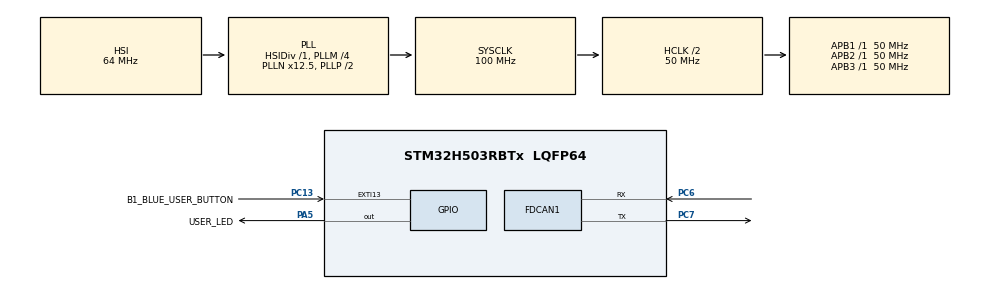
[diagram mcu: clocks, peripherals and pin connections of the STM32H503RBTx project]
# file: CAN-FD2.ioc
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BOOTPATH.BootPathName=LEGACY
BOOTPATH.UserSelectedBootPath=LEGACY
FDCAN1.CalculateBaudRateNominal=500000
FDCAN1.CalculateTimeBitNominal=2000
FDCAN1.CalculateTimeQuantumNominal=20.0
FDCAN1.DataPrescaler=2
FDCAN1.DataSyncJumpWidth=6
FDCAN1.DataTimeSeg1=18
FDCAN1.DataTimeSeg2=3
FDCAN1.FrameFormat=FDCAN_FRAME_FD_BRS
FDCAN1.Mode=FDCAN_MODE_NORMAL
FDCAN1.NominalPrescaler=1
FDCAN1.NominalSyncJumpWidth=27
FDCAN1.NominalTimeSeg1=72
FDCAN1.NominalTimeSeg2=27
Mcu.Family=STM32H5
Mcu.Name=STM32H503RBTx
Mcu.Package=LQFP64
NVIC.EXTI13_IRQn=true\:0\:0\:false\:false\:true\:true\:true\:true
NVIC.FDCAN1_IT0_IRQn=true\:0\:0\:false\:false\:true\:true\:true\:true
NVIC.PriorityGroup=NVIC_PRIORITYGROUP_4
PA3.GPIO_Label=T_VCP_RX
PA3.Signal=USART3_RX
PA4.GPIO_Label=T_VCP_TX
PA4.Signal=USART3_TX
PA5.GPIO_Label=USER_LED
PA5.Signal=GPIO_Output
PC13.GPIO_Label=B1_BLUE_USER_BUTTON
PC13.GPIO_ModeDefaultEXTI=GPIO_MODE_IT_FALLING
PC13.Signal=GPXTI13
PC6.Mode=FDCAN_Activate
PC6.Signal=FDCAN1_RX
PC7.Mode=FDCAN_Activate
PC7.Signal=FDCAN1_TX
PH0-OSC_IN(PH0).Mode=HSE-External-Oscillator
PH0-OSC_IN(PH0).Signal=RCC_OSC_IN
PH1-OSC_OUT(PH1).Mode=HSE-External-Oscillator
PH1-OSC_OUT(PH1).Signal=RCC_OSC_OUT
ProjectManager.HeapSize=0x200
ProjectManager.StackSize=0x400
ProjectManager.TargetToolchain=STM32CubeIDE
RCC.ADCFreq_Value=50000000
RCC.AHBCLKDivider=RCC_SYSCLK_DIV2
RCC.AHBFreq_Value=50000000
RCC.APB1Freq_Value=50000000
RCC.APB1TimFreq_Value=50000000
RCC.APB2Freq_Value=50000000
RCC.APB2TimFreq_Value=50000000
RCC.APB3Freq_Value=50000000
RCC.CSI_VALUE=4000000
RCC.CortexFreq_Value=50000000
RCC.EPOD_VALUE=64000000
RCC.FDCANClockSelection=RCC_FDCANCLKSOURCE_PLL1Q
RCC.HCLKFreq_Value=50000000
RCC.HSE_VALUE=24000000
RCC.HSI48_VALUE=48000000
RCC.HSIDiv=RCC_HSI_DIV1
RCC.HSI_VALUE=64000000
RCC.LSE_VALUE=32768
RCC.LSIRC_VALUE=32000
RCC.PLL1Q=4
RCC.PLLFRACN=4096
RCC.PLLM=4
RCC.PLLN=12
RCC.PLLSourceVirtual=RCC_PLL1_SOURCE_HSI
RCC.SYSCLKFreq_VALUE=100000000
RCC.SYSCLKSource=RCC_SYSCLKSOURCE_PLLCLK
RCC.USBFreq_Value=48000000
RCC.VCOOutputFreq_Value=200000000
VP_BOOTPATH_VS_BOOTPATH.Mode=BP_Activate
VP_CORTEX_M33_NS_VS_Hclk.Mode=Hclk_Mode
VP_MEMORYMAP_VS_MEMORYMAP.Mode=CurAppReg
VP_PWR_VS_DBSignals.Mode=DisableDeadBatterySignals
VP_PWR_VS_LPOM.Mode=PowerOptimisation
VP_PWR_VS_SECSignals.Mode=Security/Privilege
board=NUCLEO-H503RB

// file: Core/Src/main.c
/* USER CODE BEGIN Header */
/**
  ******************************************************************************
  * @file           : main.c
  * @brief          : Main program body
  ******************************************************************************
  * @attention
  *
  * Copyright (c) 2025 STMicroelectronics.
  * All rights reserved.
  *
  * This software is licensed under terms that can be found in the LICENSE file
  * in the root directory of this software component.
  * If no LICENSE file comes with this software, it is provided AS-IS.
  *
  ******************************************************************************
  */
/* USER CODE END Header */
#include "main.h"

FDCAN_HandleTypeDef hfdcan1;

void SystemClock_Config(void);
static void MX_GPIO_Init(void);
static void MX_FDCAN1_Init(void);

/* USER CODE BEGIN 0 */
typedef struct{
	FDCAN_TxHeaderTypeDef   TxHeader;
	FDCAN_RxHeaderTypeDef   RxHeader;
	uint32_t msgID;
	uint8_t dataTx[32];
	uint8_t dataRx[32];
} CAN_SET;

CAN_SET CAN_Payload;

/* USER CODE END 0 */

int main(void)
{

  /* MCU Configuration--------------------------------------------------------*/

  /* Reset of all peripherals, Initializes the Flash interface and the Systick. */
  HAL_Init();

  /* Configure the system clock */
  SystemClock_Config();

  /* Initialize all configured peripherals */
  MX_GPIO_Init();
  MX_FDCAN1_Init();
  /* USER CODE BEGIN 2 */
  for (int i = 0; i < 32; i++) {
      CAN_Payload.dataTx[i] = 0xAA;
  }
  /* USER CODE END 2 */

  /* Infinite loop */
  while (1)
  {

  }
}

void SystemClock_Config(void)
{
  RCC_OscInitTypeDef RCC_OscInitStruct = {0};
  RCC_ClkInitTypeDef RCC_ClkInitStruct = {0};

  /** Configure the main internal regulator output voltage
  */
  __HAL_PWR_VOLTAGESCALING_CONFIG(PWR_REGULATOR_VOLTAGE_SCALE3);

  while(!__HAL_PWR_GET_FLAG(PWR_FLAG_VOSRDY)) {}

  /** Initializes the RCC Oscillators according to the specified parameters
  * in the RCC_OscInitTypeDef structure.
  */
  RCC_OscInitStruct.OscillatorType = RCC_OSCILLATORTYPE_HSI;
  RCC_OscInitStruct.HSIState = RCC_HSI_ON;
  RCC_OscInitStruct.HSIDiv = RCC_HSI_DIV1;
  RCC_OscInitStruct.HSICalibrationValue = RCC_HSICALIBRATION_DEFAULT;
  RCC_OscInitStruct.PLL.PLLState = RCC_PLL_ON;
  RCC_OscInitStruct.PLL.PLLSource = RCC_PLL1_SOURCE_HSI;
  RCC_OscInitStruct.PLL.PLLM = 4;
  RCC_OscInitStruct.PLL.PLLN = 12;
  RCC_OscInitStruct.PLL.PLLP = 2;
  RCC_OscInitStruct.PLL.PLLQ = 4;
  RCC_OscInitStruct.PLL.PLLR = 2;
  RCC_OscInitStruct.PLL.PLLRGE = RCC_PLL1_VCIRANGE_3;
  RCC_OscInitStruct.PLL.PLLVCOSEL = RCC_PLL1_VCORANGE_WIDE;
  RCC_OscInitStruct.PLL.PLLFRACN = 4096;
  if (HAL_RCC_OscConfig(&RCC_OscInitStruct) != HAL_OK)
  {
    Error_Handler();
  }

  /** Initializes the CPU, AHB and APB buses clocks
  */
  RCC_ClkInitStruct.ClockType = RCC_CLOCKTYPE_HCLK|RCC_CLOCKTYPE_SYSCLK
                              |RCC_CLOCKTYPE_PCLK1|RCC_CLOCKTYPE_PCLK2
                              |RCC_CLOCKTYPE_PCLK3;
  RCC_ClkInitStruct.SYSCLKSource = RCC_SYSCLKSOURCE_PLLCLK;
  RCC_ClkInitStruct.AHBCLKDivider = RCC_SYSCLK_DIV2;
  RCC_ClkInitStruct.APB1CLKDivider = RCC_HCLK_DIV1;
  RCC_ClkInitStruct.APB2CLKDivider = RCC_HCLK_DIV1;
  RCC_ClkInitStruct.APB3CLKDivider = RCC_HCLK_DIV1;

  if (HAL_RCC_ClockConfig(&RCC_ClkInitStruct, FLASH_LATENCY_4) != HAL_OK)
  {
    Error_Handler();
  }

  /** Configure the programming delay
  */
  __HAL_FLASH_SET_PROGRAM_DELAY(FLASH_PROGRAMMING_DELAY_2);
}

static void MX_FDCAN1_Init(void)
{

  hfdcan1.Instance = FDCAN1;
  hfdcan1.Init.ClockDivider = FDCAN_CLOCK_DIV1;
  hfdcan1.Init.FrameFormat = FDCAN_FRAME_FD_BRS;
  hfdcan1.Init.Mode = FDCAN_MODE_NORMAL;
  hfdcan1.Init.AutoRetransmission = DISABLE;
  hfdcan1.Init.TransmitPause = DISABLE;
  hfdcan1.Init.ProtocolException = DISABLE;
  hfdcan1.Init.NominalPrescaler = 1;
  hfdcan1.Init.NominalSyncJumpWidth = 27;
  hfdcan1.Init.NominalTimeSeg1 = 72;
  hfdcan1.Init.NominalTimeSeg2 = 27;
  hfdcan1.Init.DataPrescaler = 2;
  hfdcan1.Init.DataSyncJumpWidth = 6;
  hfdcan1.Init.DataTimeSeg1 = 18;
  hfdcan1.Init.DataTimeSeg2 = 3;
  hfdcan1.Init.StdFiltersNbr = 0;
  hfdcan1.Init.ExtFiltersNbr = 0;
  hfdcan1.Init.TxFifoQueueMode = FDCAN_TX_FIFO_OPERATION;
  if (HAL_FDCAN_Init(&hfdcan1) != HAL_OK)
  {
    Error_Handler();
  }
  /* USER CODE BEGIN FDCAN1_Init 2 */
  if(HAL_FDCAN_Start(&hfdcan1)!= HAL_OK)
    {
  	  Error_Handler();
    }
    if (HAL_FDCAN_ActivateNotification(&hfdcan1, FDCAN_IT_RX_FIFO0_NEW_MESSAGE, 0) != HAL_OK)
    {
      /* Notification Error */
      Error_Handler();
    }
  /* USER CODE END FDCAN1_Init 2 */

}

static void MX_GPIO_Init(void)
{
  GPIO_InitTypeDef GPIO_InitStruct = {0};

  /* GPIO Ports Clock Enable */
  __HAL_RCC_GPIOC_CLK_ENABLE();
  __HAL_RCC_GPIOH_CLK_ENABLE();
  __HAL_RCC_GPIOA_CLK_ENABLE();

  /*Configure GPIO pin Output Level */
  HAL_GPIO_WritePin(USER_LED_GPIO_Port, USER_LED_Pin, GPIO_PIN_RESET);

  /*Configure GPIO pin : B1_BLUE_USER_BUTTON_Pin */
  GPIO_InitStruct.Pin = B1_BLUE_USER_BUTTON_Pin;
  GPIO_InitStruct.Mode = GPIO_MODE_IT_FALLING;
  GPIO_InitStruct.Pull = GPIO_NOPULL;
  HAL_GPIO_Init(B1_BLUE_USER_BUTTON_GPIO_Port, &GPIO_InitStruct);

  /*Configure GPIO pins : T_VCP_RX_Pin T_VCP_TX_Pin */
  GPIO_InitStruct.Pin = T_VCP_RX_Pin|T_VCP_TX_Pin;
  GPIO_InitStruct.Mode = GPIO_MODE_AF_PP;
  GPIO_InitStruct.Pull = GPIO_NOPULL;
  GPIO_InitStruct.Speed = GPIO_SPEED_FREQ_LOW;
  GPIO_InitStruct.Alternate = GPIO_AF13_USART3;
  HAL_GPIO_Init(GPIOA, &GPIO_InitStruct);

  /*Configure GPIO pin : USER_LED_Pin */
  GPIO_InitStruct.Pin = USER_LED_Pin;
  GPIO_InitStruct.Mode = GPIO_MODE_OUTPUT_PP;
  GPIO_InitStruct.Pull = GPIO_NOPULL;
  GPIO_InitStruct.Speed = GPIO_SPEED_FREQ_LOW;
  HAL_GPIO_Init(USER_LED_GPIO_Port, &GPIO_InitStruct);

  /* EXTI interrupt init*/
  HAL_NVIC_SetPriority(EXTI13_IRQn, 0, 0);
  HAL_NVIC_EnableIRQ(EXTI13_IRQn);

}

/* USER CODE BEGIN 4 */
void TX_Send_CAN(){

    /* ----- Prepare CAN data --------------------------------------- */
    CAN_Payload.TxHeader.IdType = FDCAN_STANDARD_ID;
    CAN_Payload.TxHeader.Identifier = 0x11; //CAN_Payload.msgID
    CAN_Payload.TxHeader.TxFrameType = FDCAN_DATA_FRAME;
    CAN_Payload.TxHeader.DataLength = FDCAN_DLC_BYTES_32;        // 8-byte payloaD
    CAN_Payload.TxHeader.ErrorStateIndicator = FDCAN_ESI_ACTIVE;
    CAN_Payload.TxHeader.BitRateSwitch = FDCAN_BRS_OFF;         // Disable BRS
    CAN_Payload.TxHeader.FDFormat = FDCAN_FD_CAN;          // Use Classical CAN frame
    CAN_Payload.TxHeader.TxEventFifoControl = FDCAN_NO_TX_EVENTS;
    CAN_Payload.TxHeader.MessageMarker = 0;

    CAN_Payload.dataTx[0] ^= 1;

    if (HAL_FDCAN_AddMessageToTxFifoQ(&hfdcan1, &CAN_Payload.TxHeader,CAN_Payload.dataTx)!= HAL_OK)
    {
      /*do not thing */
    }

}
void HAL_FDCAN_RxFifo0Callback(FDCAN_HandleTypeDef *hfdcan, uint32_t RxFifo0ITs)
{
	if((RxFifo0ITs & FDCAN_IT_RX_FIFO0_NEW_MESSAGE) != RESET)
	{
		/* Retreive Rx messages from RX FIFO0 */
		if (HAL_FDCAN_GetRxMessage(hfdcan, FDCAN_RX_FIFO0,&CAN_Payload.RxHeader,CAN_Payload.dataRx) != HAL_OK)
		{
			/* Reception Error */
			Error_Handler();
		}
		if (HAL_FDCAN_ActivateNotification(hfdcan, FDCAN_IT_RX_FIFO0_NEW_MESSAGE, 0) != HAL_OK)
		{
			/* Notification Error */
			Error_Handler();
		}
	}
}
void HAL_GPIO_EXTI_Falling_Callback(uint16_t GPIO_Pin){

	if(GPIO_Pin == B1_BLUE_USER_BUTTON_Pin){
		TX_Send_CAN();
	}
}
/* USER CODE END 4 */

void Error_Handler(void)
{
  __disable_irq();
  while (1)
  {
  }
}
